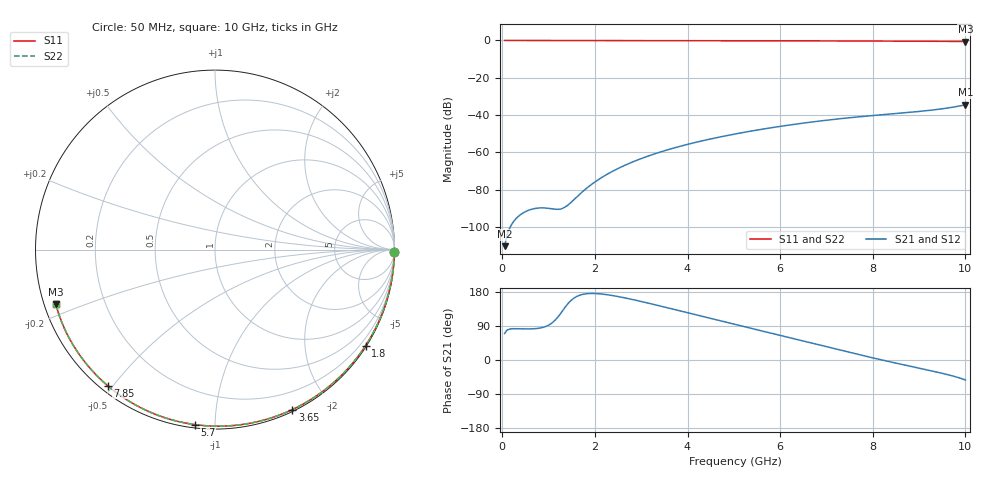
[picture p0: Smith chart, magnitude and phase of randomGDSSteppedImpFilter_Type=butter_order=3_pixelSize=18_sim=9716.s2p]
! freq	dB(S11)	phase(S11)	dB(S12)	phase(S12)
!  dB(S21)	phase(S21)	dB(S22)	phase(S22)
!S-par simulation data
#  GHz  S  DB  R 50
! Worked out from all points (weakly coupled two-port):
!   200 points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, 50 MHz to 10 GHz, reference 50 ohm
!   highest |S21| = -34.50 dB at 10 GHz (marker M1); lowest = -110.3 dB at 50 MHz (marker M2)
!   lowest |S11| = -0.6 dB at 10 GHz (marker M3), VSWR 30.84, Z = 1.67 - j8.36 ohm
!   |S11| at or under -10 dB: nowhere
!   |S22| runs from -0.6 to 0.0 dB; largest |S21 - S12| = 0
!   S11 on the Smith chart (normalised r, x): 50 MHz: open; 1.8 GHz: 0.03, -3.43; 3.65 GHz: 0.02, -1.59; 5.7 GHz: 0.02, -0.89; 7.85 GHz: 0.02, -0.48; 10 GHz: 0.03, -0.17
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0.05  -0.00 -0.9  -110.29 70.0  -110.29 70.0  -0.00 -0.9
0.45  -0.01 -8.2  -92.45 82.2  -92.45 82.2  -0.01 -8.2
0.9  -0.02 -16.4  -89.78 86.8  -89.78 86.8  -0.02 -16.4
1.75  -0.04 -31.7  -80.69 173.6  -80.69 173.6  -0.04 -31.7
1.8  -0.04 -32.5  -79.64 174.6  -79.64 174.6  -0.04 -32.5
1.95  -0.04 -35.2  -76.75 175.6  -76.75 175.6  -0.04 -35.2
2.1  -0.05 -37.8  -74.21 174.7  -74.21 174.7  -0.05 -37.8
2.3  -0.05 -41.3  -71.24 171.7  -71.24 171.7  -0.05 -41.3
2.5  -0.06 -44.8  -68.64 167.5  -68.64 167.5  -0.06 -44.8
2.9  -0.07 -51.6  -64.28 157.2  -64.28 157.2  -0.07 -51.6
3.4  -0.08 -60.1  -59.91 142.8  -59.91 142.8  -0.08 -60.1
3.65  -0.09 -64.2  -58.05 135.3  -58.05 135.3  -0.09 -64.2
4.3  -0.11 -74.8  -53.91 115.7  -53.91 115.7  -0.11 -74.8
5.05  -0.13 -86.6  -50.04 93.2  -50.04 93.2  -0.13 -86.6
5.7  -0.16 -96.6  -47.23 73.8  -47.23 73.8  -0.16 -96.6
6.7  -0.22 -111.6  -43.67 43.9  -43.67 43.9  -0.22 -111.6
7.25  -0.26 -119.6  -42.07 27.5  -42.07 27.5  -0.26 -119.6
7.85  -0.30 -128.3  -40.59 9.9  -40.59 9.9  -0.30 -128.3
8.35  -0.35 -135.5  -39.50 -4.2  -39.50 -4.2  -0.35 -135.5
9.35  -0.46 -150.4  -37.12 -30.9  -37.12 -30.9  -0.46 -150.4
9.7  -0.51 -156.0  -35.89 -41.3  -35.89 -41.3  -0.51 -156.0
10  -0.56 -161.0  -34.50 -52.7  -34.50 -52.7  -0.56 -161.0
